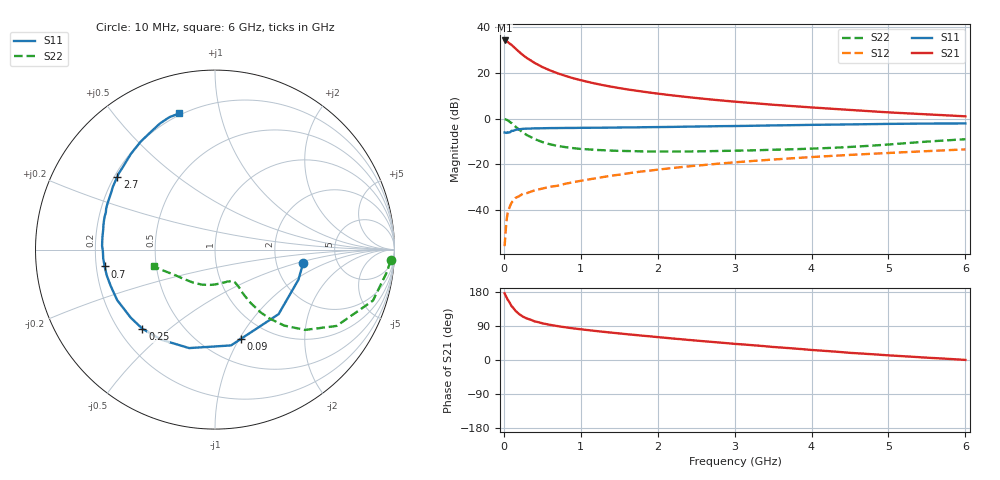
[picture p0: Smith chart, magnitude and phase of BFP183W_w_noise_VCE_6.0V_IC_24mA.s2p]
! (c) 2017  Infineon Technologies AG, Munich
! Infineon Technologies  Discrete & RF Semiconductors
! BFP183W
! VCE =  6.0 V,  IC =  24 mA
! Common Emitter S-Parameters:  Jan 2017
# GHz  S  MA  R  50
!  f  S11  S21  S12  S22
! GHz  MAG  ANG  MAG  ANG  MAG  ANG  MAG  ANG
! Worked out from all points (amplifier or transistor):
!   77 points, 10 MHz to 6 GHz, reference 50 ohm
!   highest |S21| = 34.3 dB at 10 MHz (marker M1)
!   |S21| within 3 dB of that: start of sweep to 133.7 MHz
!   unconditionally stable (mu >= 1): 1.093 GHz to 3.483 GHz
!   at 130 MHz: K = 0.26, MSG = 33.5 dB, |S12| = -35.6 dB
!   at 2.2 GHz: K = 1.06, MAG = 14.4 dB, |S12| = -21.6 dB
!   at 6 GHz: K = 0.87, MSG = 7.3 dB, |S12| = -13.5 dB
!   lowest NFmin = 1.27 dB at 450 MHz
!   S11 on the Smith chart (normalised r, x): 10 MHz: 2.85, -0.56; 90 MHz: 0.74, -1.01; 250 MHz: 0.30, -0.41; 700 MHz: 0.23, -0.07; 2.7 GHz: 0.21, +0.32; 6 GHz: 0.19, +0.75
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0.01  0.4971 -8.6  51.73 176.0  0.0016 94.4  0.9803 -3.5
0.02  0.4941 -19.9  50.9 171.2  0.0028 89.0  0.9667 -7.3
0.05  0.5048 -45.4  48.13 159.3  0.0087 72.5  0.9248 -17.9
0.09  0.5188 -74.1  42.42 146.1  0.0132 63.6  0.8206 -28.9
0.1  0.5412 -80.5  41.4 142.3  0.0143 62.3  0.8 -32.1
0.15  0.5673 -104.7  34.59 130.1  0.0182 55.2  0.6727 -41.7
0.2  0.5842 -120.7  28.95 121.0  0.02 51.1  0.5722 -47.7
0.25  0.5985 -132.5  24.63 114.3  0.0227 47.2  0.494 -51.4
0.3  0.6035 -141.0  21.24 109.4  0.0233 46.7  0.4346 -53.9
0.4  0.6135 -152.7  16.62 102.0  0.0267 46.4  0.3561 -56.3
0.5  0.6154 -160.7  13.52 96.9  0.0293 48.4  0.3068 -57.2
0.6  0.6202 -166.7  11.42 92.8  0.0321 50.4  0.2739 -57.7
0.7  0.622 -171.3  9.839 89.4  0.0338 52.3  0.2517 -57.5
0.9  0.6246 -178.9  7.693 83.5  0.0404 55.4  0.2258 -58.2
1.1  0.6303 175.3  6.341 78.8  0.0463 57.7  0.2118 -59.0
1.5  0.639 165.6  4.671 70.2  0.059 59.0  0.1963 -63.2
2.1  0.6558 153.5  3.373 58.6  0.0795 59.4  0.1899 -74.6
2.7  0.679 143.3  2.623 47.9  0.0998 57.7  0.1939 -89.8
3.1  0.6919 137.0  2.285 41.2  0.1134 55.8  0.1995 -100.2
4.1  0.7332 123.3  1.716 25.1  0.147 50.4  0.2231 -126.3
5.1  0.7693 112.6  1.345 11.1  0.1801 44.5  0.2788 -151.5
6  0.7845 104.7  1.124 0.2  0.2116 38.6  0.3537 -164.6
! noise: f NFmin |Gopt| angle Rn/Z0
0.45  1.27  0.23  176  0.1
0.9  1.29  0.27  178  0.09
1.9  1.78  0.43  -159  0.09
2.4  2.01  0.47  -154  0.13
